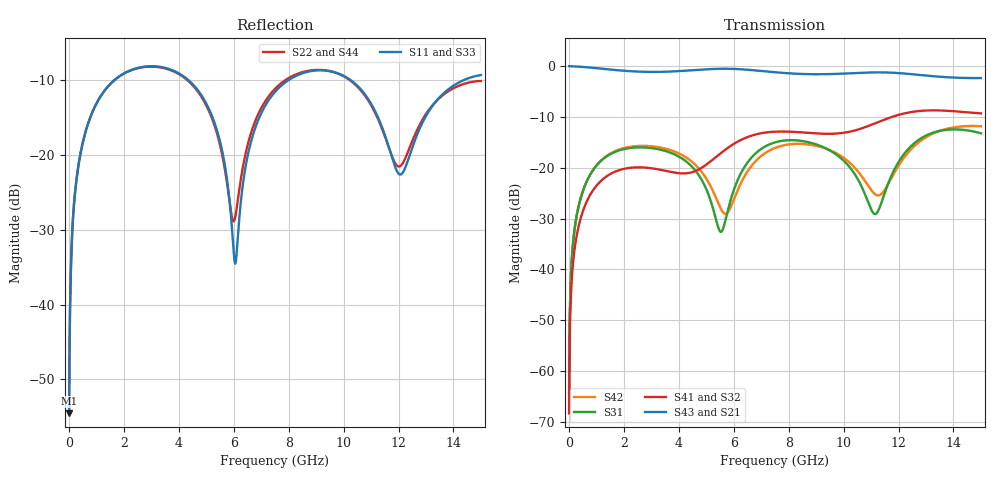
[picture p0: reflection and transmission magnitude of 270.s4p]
! Created with skrf 1.8.0 (http://scikit-rf.org).
# GHz S RI R 50.0
!freq ReS11 ImS11 ReS12 ImS12 ReS13 ImS13
! ReS14 ImS14
! ReS21 ImS21 ReS22 ImS22 ReS23 ImS23
! ReS24 ImS24
! ReS31 ImS31 ReS32 ImS32 ReS33 ImS33
! ReS34 ImS34
! ReS41 ImS41 ReS42 ImS42 ReS43 ImS43
! ReS44 ImS44
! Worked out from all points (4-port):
!   2499 points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, 5 MHz to 15 GHz, reference 50 ohm
!   strongest paths, dB at 5 MHz, 3.476 GHz, 7.19 GHz, 11.1 GHz, 15 GHz:
!     S43: 0.0, -1.1, -1.1, -1.2, -2.4
!     S21: 0.0, -1.1, -1.1, -1.2, -2.4
!     S41: -68.3, -20.6, -13.0, -11.4, -9.3
!     S32: -68.3, -20.6, -13.1, -11.4, -9.4
!     S31: -64.3, -16.6, -15.7, -29.0, -13.2
!     S42: -64.3, -16.2, -17.0, -25.0, -11.8
!   lowest |S11| = -54.6 dB at 5 MHz (marker M1), VSWR 1.00, Z = 50.1 + j0.113 ohm
!   |S11| at or under -10 dB: start of sweep to 1.642 GHz; 4.358 GHz to 7.981 GHz (3.624 GHz wide, 58.7 % of centre); 10.27 GHz to 14.36 GHz (4.088 GHz wide, 33.2 % of centre)
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0.005  0.00149 0.00113  0.9985 -0.0029  7.49e-05 0.000606  -7.27e-05 -0.000377
       0.9985 -0.0029  0.00149 0.00113  -7.27e-05 -0.000377  7.5e-05 0.000606
       7.49e-05 0.000606  -7.27e-05 -0.000377  0.00149 0.00113  0.9985 -0.0029
       -7.27e-05 -0.000377  7.5e-05 0.000606  0.9985 -0.0029  0.00149 0.00113
0.3126303  0.0205 0.075  0.9721 -0.1812  0.00919 0.0364  -0.00786 -0.0225
           0.9721 -0.1812  0.0204 0.075  -0.00786 -0.0225  0.00972 0.0363
           0.00919 0.0364  -0.00786 -0.0225  0.0205 0.075  0.9721 -0.1812
           -0.00786 -0.0225  0.00972 0.0363  0.9721 -0.1812  0.0204 0.075
1.519383  0.2358 0.1874  0.6219 -0.683  0.1134 0.0764  -0.0853 -0.0179
          0.6219 -0.683  0.2334 0.1887  -0.0853 -0.018  0.1209 0.068
          0.1134 0.0764  -0.0853 -0.018  0.2358 0.1874  0.6219 -0.683
          -0.0853 -0.0179  0.1209 0.068  0.6219 -0.683  0.2334 0.1887
5.852439  0.0213 -0.0436  -0.9282 -0.153  0.0263 0.036  -0.0223 0.1601
          -0.9282 -0.153  0.0376 -0.0302  -0.0237 0.16  -0.0323 0.0222
          0.0263 0.036  -0.0237 0.16  0.0205 -0.0429  -0.9283 -0.153
          -0.0223 0.1601  -0.0323 0.0222  -0.9283 -0.153  0.0382 -0.0295
9.410171  0.3642 -0.0405  0.0299 0.8331  0.1251 -0.0874  0.2051 -0.0672
          0.0299 0.8331  0.364 -0.0475  0.2051 -0.0642  0.1211 -0.0925
          0.1251 -0.0874  0.2051 -0.0642  0.3651 -0.0412  0.0292 0.833
          0.2051 -0.0672  0.1211 -0.0925  0.0292 0.833  0.3643 -0.0462
12.04252  0.0735 -0.0103  0.8409 0.1389  -0.0045 0.1185  0.0448 -0.3307
          0.8409 0.1389  0.0839 -0.00393  0.0502 -0.3303  -0.0152 0.1082
          -0.0045 0.1185  0.0502 -0.3303  0.0708 -0.013  0.8405 0.1414
          0.0448 -0.3307  -0.0152 0.1082  0.8405 0.1414  0.0874 -0.00705
15  0.3429 0.00244  0.2273 -0.7254  0.2156 -0.0332  -0.3424 -0.00851
    0.2273 -0.7254  0.313 -0.00545  -0.3404 -0.0151  0.2305 -0.1116
    0.2156 -0.0332  -0.3404 -0.0151  0.3383 -0.000646  0.2304 -0.7271
    -0.3424 -0.00851  0.2305 -0.1116  0.2304 -0.7271  0.3046 -0.00273
